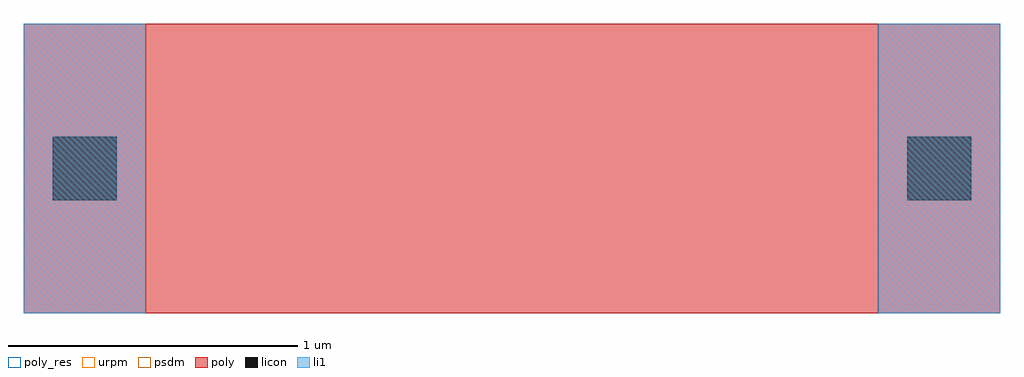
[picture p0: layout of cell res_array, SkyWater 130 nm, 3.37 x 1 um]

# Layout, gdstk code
import gdstk
lib = gdstk.Library(unit=1e-6, precision=1e-09)
def R(c, l, rs):  # rectangles x0, y0, x1, y1
    for r in rs: c.add(gdstk.rectangle(r[:2], r[2:], *l))
poly_res = (66, 13)
poly = (66, 20)
licon = (66, 44)
li1 = (67, 20)
urpm = (79, 20)
psdm = (94, 20)

res_array = lib.new_cell('res_array')
R(res_array, poly_res, [(0.42,0,2.95,1)])
R(res_array, poly, [(0,0,3.37,1)])
R(res_array, licon, [(0.1,0.39,0.32,0.61), (3.05,0.39,3.27,0.61)])
R(res_array, li1, [(0,0,0.42,1), (2.95,0,3.37,1)])
R(res_array, urpm, [(0.42,0,2.95,1)])
R(res_array, psdm, [(0.42,0,2.95,1)])

lib.write_gds('res_array.gds')
